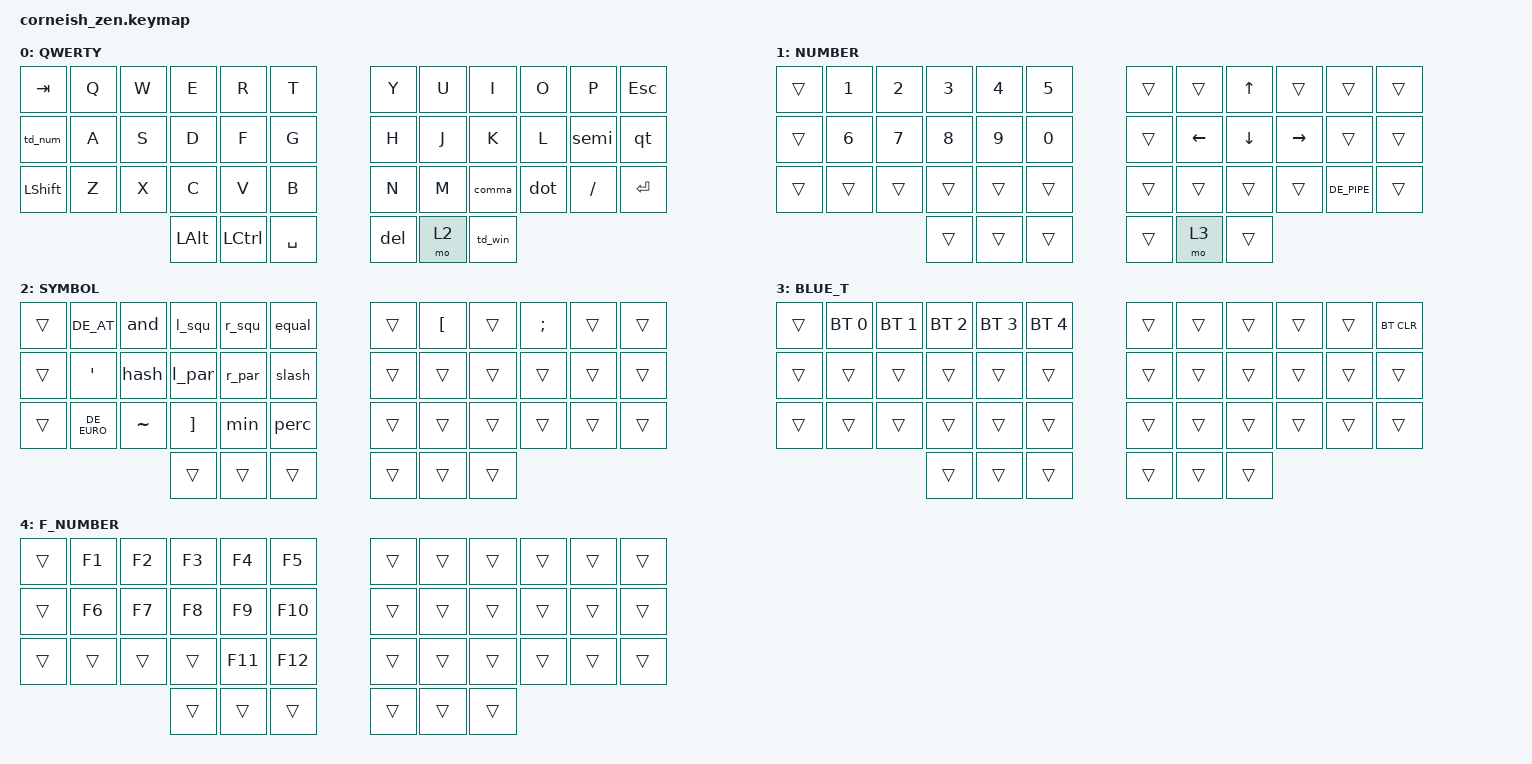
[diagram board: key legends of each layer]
#include <behaviors.dtsi>
#include <dt-bindings/zmk/keys.h>
#include <dt-bindings/zmk/bt.h>
#include "keys_de.h"

/ {
     chosen {
          zmk,matrix_transform = &default_transform;
          //zmk,matrix_transform = &five_column_transform;
     };

     behaviors {
          td_win: tap_dance_win {
               compatible = "zmk,behavior-tap-dance";
               label = "TAP_DANCE_WIN";
               #binding-cells = <0>;
               tapping-term-ms = <180>;
               bindings = <&mo 1>, <&kp LGUI>;
          };
          td_num: tap_dance_num {
               compatible = "zmk,behavior-tap-dance";
               label = "TAP_DANCE_NUM";
               #binding-cells = <0>;
               tapping-term-ms = <180>;
               bindings = <&mo 1>, <&sl 4>;
          };
          morph_esc: morph {
               compatible = "zmk,behavior-mod-morph";
               #binding-cells = <0>;
               bindings = <&td_num>, <&kp ESC>;
               mods = <(MOD_LSFT|MOD_RSFT)>;
          };
          semi: semic_colon {
               compatible = "zmk,behavior-mod-morph";
               #binding-cells = <0>;
               bindings = <&kp DE_SEMI>, <&kp DE_COLON>;
               mods = <(MOD_LSFT|MOD_RSFT)>;
          };
          
          del: bsp_del {
               compatible = "zmk,behavior-mod-morph";
               #binding-cells = <0>;
               bindings = <&kp BSPC>, <&kp DEL>;
               mods = <(MOD_LSFT|MOD_RSFT)>;
          };
          qt: qt_sqt {
               compatible = "zmk,behavior-mod-morph";
               #binding-cells = <0>;
               bindings = <&kp DE_SQT>, <&kp DE_DQT>;
               mods = <(MOD_LSFT|MOD_RSFT)>;
          };
          comma: comma_exc {
               compatible = "zmk,behavior-mod-morph";
               #binding-cells = <0>;
               bindings = <&kp DE_COMMA>, <&kp DE_EXCLAMATION>;
               mods = <(MOD_LSFT|MOD_RSFT)>;
          };
          dot: dot_quest {
               compatible = "zmk,behavior-mod-morph";
               #binding-cells = <0>;
               bindings = <&kp DE_DOT>, <&kp DE_QMARK>;
               mods = <(MOD_LSFT|MOD_RSFT)>;
          };
          l_par: l_par {
               compatible = "zmk,behavior-mod-morph";
               #binding-cells = <0>;
               bindings = <&kp DE_LPAR>, <&kp DE_LEFT_BRACKET>;
               mods = <(MOD_LSFT|MOD_RSFT)>;
          };
          r_par: r_par {
               compatible = "zmk,behavior-mod-morph";
               #binding-cells = <0>;
               bindings = <&kp DE_RPAR>, <&kp DE_RIGHT_BRACKET>;
               mods = <(MOD_LSFT|MOD_RSFT)>;
          };
          l_squ: l_squ {
               compatible = "zmk,behavior-mod-morph";
               #binding-cells = <0>;
               bindings = <&kp DE_LEFT_BRACE>, <&kp DE_LESS_THAN>;
               mods = <(MOD_LSFT|MOD_RSFT)>;
          };
          r_squ: r_squ {
               compatible = "zmk,behavior-mod-morph";
               #binding-cells = <0>;
               bindings = <&kp DE_RIGHT_BRACE>, <&kp DE_GREATER_THAN>;
               mods = <(MOD_LSFT|MOD_RSFT)>;
          };
          and: and_pipe {
               compatible = "zmk,behavior-mod-morph";
               #binding-cells = <0>;
               bindings = <&kp DE_AMPERSAND>, <&kp DE_PIPE>;
               mods = <(MOD_LSFT|MOD_RSFT)>;
          };
          slash: slash {
               compatible = "zmk,behavior-mod-morph";
               #binding-cells = <0>;
               bindings = <&kp DE_SLASH>, <&kp DE_BACKSLASH>;
               mods = <(MOD_LSFT|MOD_RSFT)>;
          };
          min: minus_dollar {
               compatible = "zmk,behavior-mod-morph";
               #binding-cells = <0>;
               bindings = <&kp DE_MINUS>, <&kp DE_DOLLAR>;
               mods = <(MOD_LSFT|MOD_RSFT)>;
          };
          perc: percent_tilde {
               compatible = "zmk,behavior-mod-morph";
               #binding-cells = <0>;
               bindings = <&kp DE_PERCENT>, <&kp DE_TILDE>;
               mods = <(MOD_LSFT|MOD_RSFT)>;
          };
          equal: equal_backtick {
               compatible = "zmk,behavior-mod-morph";
               #binding-cells = <0>;
               bindings = <&kp DE_EQUAL>, <&kp DE_GRAVE>;
               mods = <(MOD_LSFT|MOD_RSFT)>;
          };
          hash: hash_eszett {
               compatible = "zmk,behavior-mod-morph";
               #binding-cells = <0>;
               bindings = <&kp DE_HASH>, <&kp DE_SHARP_S>;
               mods = <(MOD_LSFT|MOD_RSFT)>;
          };

     };

     keymap {
          compatible = "zmk,keymap";

          default_layer {
               label = "QWERTY"; //Layer 0
//   ------------------------------------------------------------------------------------------------------------------------------
//   |  TAB    |    Q    |    W    |    E    |    R    |    T    |    |    Y    |    U    |    I    |    O    |    P    |   ESC   |
//   |NUMBER   |    A    |    S    |    D    |    F    |    G    |    |    H    |    J    |    K    |    L    |    ;:   |    '"   |
//   | SHFT    |    Z    |    X    |    C    |    V    |    B    |    |    N    |    M    |    ,!   |    .?   |    -_   |   RET   |
//                                 |   LALT  |   CTRL  |   SPC   |    |   BSPC  |   RSE   |   GUI   |
               bindings = <
     &kp TAB   &kp Q     &kp W     &kp E     &kp R     &kp T          &kp Y     &kp U     &kp I     &kp O     &kp P     &kp ESC
     &td_num   &kp A     &kp S     &kp D     &kp F     &kp G          &kp H     &kp J     &kp K     &kp L     &semi     &qt
     &kp LSHFT &kp Z     &kp X     &kp C     &kp V     &kp B          &kp N     &kp M     &comma    &dot      &kp FSLH  &kp RET
                                   &kp LALT  &kp LCTRL &kp SPACE      &del      &mo 2     &td_win
               >;
          };
               
          lower_layer {
               label = "NUMBER"; //Layer 1
//   ------------------------------------------------------------------------------------------------------------------------------
//   |  1F1    |  2F2    |  3F3    |  4F4    |  5F5    |  6F6    |    |         |         |   UP    |         |         |         |
//   |  7F7    |  8F8    |  9F9    |  0F10   |         |         |    |         |  LEFT   |  DOWN   |  RIGHT  |         |         |
//   |         |         |         |         |         |         |    |         |         |         |         |  pipe   |         |
//                                 |         |         |         |    |         |mo 3     |         |
               bindings = <
     &trans    &kp N1    &kp N2    &kp N3    &kp N4    &kp N5         &trans    &trans    &kp UP    &trans    &trans    &trans
     &trans    &kp N6    &kp N7    &kp N8    &kp N9    &kp N0         &trans    &kp LEFT  &kp DOWN  &kp RIGHT &trans    &trans
     &trans    &trans    &trans    &trans    &trans    &trans         &trans    &trans    &trans    &trans    &kp DE_PIPE  &trans
                                   &trans    &trans    &trans         &trans    &mo 3     &trans
               >;
          };
                   
          raise_layer {
               label = "SYMBOL"; //Layer 2 todo
//   ------------------------------------------------------------------------------------------------------------------------------
//   |         |    @    |   &|    |   {<    |    }>   |   =`    |    |         |    Ü    |         |    Ö    |         |         |
//   |         |    Ä    |   #ß    |   ([    |    )]   |   /\    |    |         |         |         |         |         |         |
//   |         |    €    |   ^°    |   +*    |    -$   |   %~    |    |         |         |         |         |         |         |
//                                 |         |         |         |    |         |         |         |
               bindings = <
     &trans    &kp DE_AT &and      &l_squ    &r_squ    &equal         &trans    &kp LBKT  &trans    &kp SEMI  &trans    &trans
     &trans    &kp APOS  &hash     &l_par    &r_par    &slash         &trans    &trans    &trans    &trans    &trans    &trans
     &trans    &kp DE_EURO &kp TILDE &kp RBKT &min     &perc          &trans    &trans    &trans    &trans    &trans    &trans
                                   &trans    &trans    &trans         &trans    &trans    &trans
               >;
          };

          bt_layer {
               label = "BLUE_T"; //Layer 3
//   ------------------------------------------------------------------------------------------------------------------------------
//   |         |BT 1     |BT 2     |BT 3     |BT 4     |BT 5     |    |         |         |         |         |         |BT CLR   |
//   |         |         |         |         |         |         |    |         |         |         |         |         |         |
//   |         |         |         |         |         |         |    |         |         |         |         |         |         |
//                                 |         |         |         |    |         |         |         |
                        bindings = <
     &trans    &bt BT_SEL 0 &bt BT_SEL 1 &bt BT_SEL 2 &bt BT_SEL 3 &bt BT_SEL 4  &trans &trans &trans &trans  &trans    &bt  BT_CLR 
     &trans    &trans    &trans    &trans    &trans    &trans         &trans    &trans    &trans    &trans    &trans    &trans
     &trans    &trans    &trans    &trans    &trans    &trans         &trans    &trans    &trans    &trans    &trans    &trans
                                   &trans    &trans    &trans         &trans    &trans    &trans
               >;
          };
          
          fkey_layer {
               label = "F_NUMBER"; //Layer 4
//   ------------------------------------------------------------------------------------------------------------------------------
//   |         |   F1    |   F2    |   F3    |   F4    |   F5    |    |         |         |         |         |         |         |
//   |         |   F6    |   F7    |   F8    |   F9    |   F10   |    |         |         |         |         |         |         |
//   |         |         |         |         |   F11   |   F12   |    |         |         |         |         |         |         |
//                                 |         |         |         |    |         |         |         |
                        bindings = <
     &trans    &kp F1    &kp F2    &kp F3    &kp F4    &kp F5         &trans    &trans    &trans    &trans    &trans    &trans
     &trans    &kp F6    &kp F7    &kp F8    &kp F9    &kp F10        &trans    &trans    &trans    &trans    &trans    &trans
     &trans    &trans    &trans    &trans    &kp F11   &kp F12        &trans    &trans    &trans    &trans    &trans    &trans
                                   &trans    &trans    &trans         &trans    &trans    &trans
               >;
          };
     };
};
